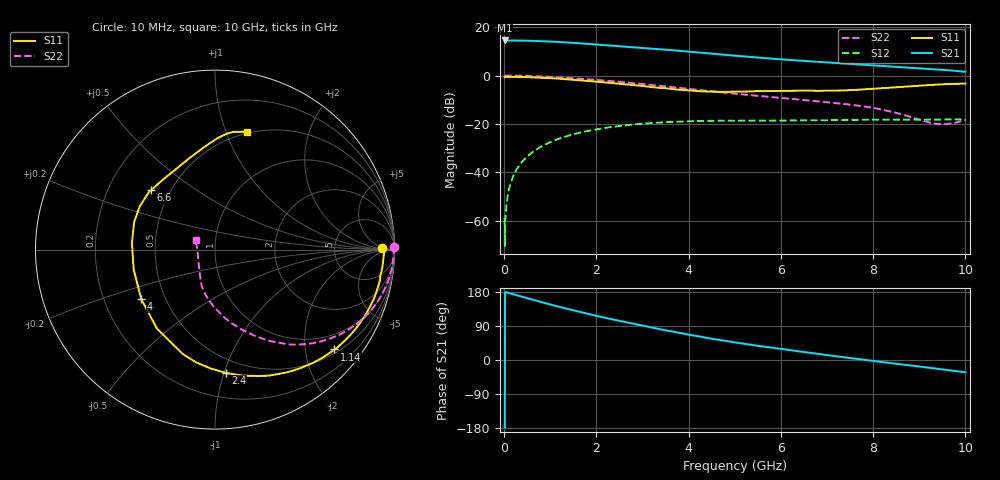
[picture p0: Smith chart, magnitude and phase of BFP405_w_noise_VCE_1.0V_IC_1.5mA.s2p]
! Infineon Technologies  Discrete & RF Semiconductors
! BFP405
! VCE =  1.0 V,  IC =  1.5 mA
! Common Emitter S-Parameters:  Jan 2016
# GHz  S  MA  R  50
!  f  S11  S21  S12  S22
! GHz  MAG  ANG  MAG  ANG  MAG  ANG  MAG  ANG
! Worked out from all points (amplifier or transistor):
!   233 points, 10 MHz to 10 GHz, reference 50 ohm
!   highest |S21| = 14.5 dB at 10 MHz (marker M1)
!   |S21| within 3 dB of that: start of sweep to 2.956 GHz
!   unconditionally stable (mu >= 1): 14.33 MHz to 15.38 MHz; 4.631 GHz to end of sweep
!   at 200 MHz: K = 0.03, MSG = 27.9 dB, |S12| = -41.4 dB
!   at 1.74 GHz: K = 0.29, MSG = 18.2 dB, |S12| = -23.2 dB
!   at 10 GHz: K = 1.84, MAG = 4.6 dB, |S12| = -18.1 dB
!   lowest NFmin = 0.79 dB at 900 MHz
!   S11 on the Smith chart (normalised r, x): 10 MHz: 27, +3; 1.14 GHz: 0.59, -2.64; 2.4 GHz: 0.39, -1.02; 4 GHz: 0.37, -0.27; 6.6 GHz: 0.39, +0.34; 10 GHz: 0.49, +1.19
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0.01  0.9291 0.4  5.292 -177.0  0.0011 -50.4  1 0.7
0.015  0.9362 -0.1  5.262 -178.8  0.0003 -4.0  0.9966 0.4
0.02  0.9433 -0.6  5.237 179.3  0.0008 91.0  0.9933 0.1
0.025  0.9428 -0.8  5.236 179.2  0.001 87.6  0.9938 -0.1
0.07  0.9399 -2.6  5.248 177.8  0.003 84.6  0.9963 -1.3
0.165  0.9376 -5.8  5.266 174.6  0.007 87.1  0.9941 -3.3
0.3  0.9344 -10.4  5.27 170.1  0.0128 84.4  0.9919 -6.1
0.7  0.9119 -24.4  5.153 156.6  0.0298 76.4  0.9664 -14.2
1.14  0.8676 -39.9  4.95 142.1  0.0478 67.2  0.9234 -22.9
1.68  0.7948 -59.0  4.6 125.7  0.0674 56.2  0.8547 -32.5
2  0.7474 -70.5  4.375 116.6  0.0775 50.0  0.8107 -37.7
2.4  0.6901 -84.9  4.102 105.9  0.0884 42.7  0.7541 -43.8
2.8  0.6364 -99.7  3.849 95.6  0.0976 35.8  0.6965 -49.5
3.4  0.5535 -122.1  3.469 80.9  0.1074 26.1  0.6086 -57.5
4  0.4947 -146.2  3.12 66.8  0.1139 17.5  0.5276 -65.4
4.5  0.4663 -166.6  2.834 56.1  0.1166 11.2  0.4697 -71.5
5.1  0.4643 172.5  2.518 44.6  0.1174 4.9  0.4124 -78.2
6.6  0.4856 137.1  1.976 19.5  0.1185 -5.5  0.3057 -93.1
6.8  0.4839 132.4  1.916 16.2  0.1189 -6.6  0.293 -95.1
8.4  0.5663 97.4  1.525 -8.5  0.1229 -16.2  0.1788 -117.1
9.4  0.6518 83.8  1.334 -23.4  0.1235 -21.2  0.0996 -163.8
10  0.6817 74.6  1.195 -32.4  0.1238 -23.5  0.1203 153.4
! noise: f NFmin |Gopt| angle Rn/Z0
0.9  0.79  0.64  15  0.47
1.8  1.18  0.51  29  0.42
2.4  1.41  0.42  40  0.39
3  1.48  0.42  55  0.36
4  1.72  0.3  82  0.27
5  2.06  0.26  118  0.21
